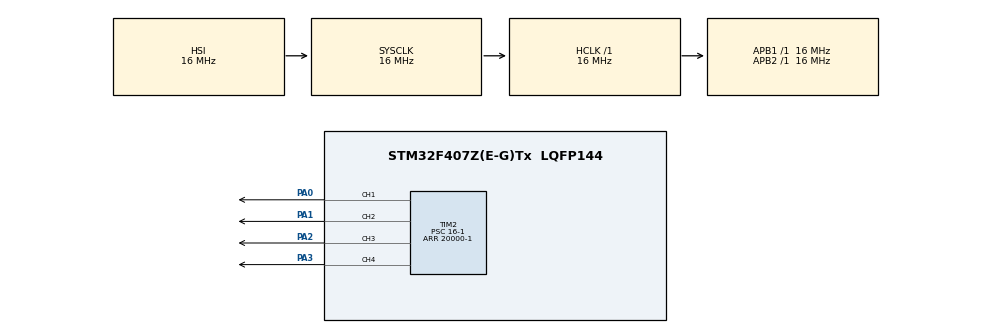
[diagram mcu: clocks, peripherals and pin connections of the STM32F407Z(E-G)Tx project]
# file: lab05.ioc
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Mcu.Family=STM32F4
Mcu.Name=STM32F407Z(E-G)Tx
Mcu.Package=LQFP144
NVIC.PriorityGroup=NVIC_PRIORITYGROUP_4
NVIC.TIM1_UP_TIM10_IRQn=true\:0\:0\:false\:true\:true\:1\:true\:true
NVIC.TIM3_IRQn=true\:0\:0\:false\:true\:true\:2\:true\:true
PA0-WKUP.Signal=S_TIM2_CH1_ETR
PA1.Signal=S_TIM2_CH2
PA2.Signal=S_TIM2_CH3
PA3.Signal=S_TIM2_CH4
ProjectManager.HeapSize=0x200
ProjectManager.StackSize=0x400
ProjectManager.TargetToolchain=STM32CubeIDE
RCC.AHBFreq_Value=16000000
RCC.APB1Freq_Value=16000000
RCC.APB2Freq_Value=16000000
RCC.CortexFreq_Value=16000000
RCC.HSE_VALUE=25000000
RCC.HSI_VALUE=16000000
RCC.LSE_VALUE=32768
RCC.SYSCLKFreq_VALUE=16000000
RCC.VCOOutputFreq_Value=192000000
SH.S_TIM2_CH1_ETR.0=TIM2_CH1,PWM Generation1 CH1
SH.S_TIM2_CH2.0=TIM2_CH2,PWM Generation2 CH2
SH.S_TIM2_CH3.0=TIM2_CH3,PWM Generation3 CH3
SH.S_TIM2_CH4.0=TIM2_CH4,PWM Generation4 CH4
TIM1.Period=1000-1
TIM1.Prescaler=160-1
TIM1.TIM_MasterOutputTrigger=TIM_TRGO_UPDATE
TIM2.Channel-PWM\ Generation1\ CH1=TIM_CHANNEL_1
TIM2.Channel-PWM\ Generation2\ CH2=TIM_CHANNEL_2
TIM2.Channel-PWM\ Generation3\ CH3=TIM_CHANNEL_3
TIM2.Channel-PWM\ Generation4\ CH4=TIM_CHANNEL_4
TIM2.Period=20000-1
TIM2.Prescaler=16-1
TIM2.Pulse-PWM\ Generation1\ CH1=0
TIM2.Pulse-PWM\ Generation2\ CH2=0
TIM2.Pulse-PWM\ Generation3\ CH3=0
TIM2.Pulse-PWM\ Generation4\ CH4=0
TIM3.Period=1000-1
TIM3.Prescaler=80-1
TIM3.TIM_MasterOutputTrigger=TIM_TRGO_UPDATE
VP_TIM1_VS_ClockSourceINT.Mode=Internal
VP_TIM2_VS_ClockSourceINT.Mode=Internal
VP_TIM3_VS_ClockSourceINT.Mode=Internal
board=custom

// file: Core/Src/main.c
/* USER CODE BEGIN Header */
/**
  ******************************************************************************
  * @file           : main.c
  * @brief          : Main program body
  ******************************************************************************
  * @attention
  *
  * <h2><center>&copy; Copyright (c) 2022 STMicroelectronics.
  * All rights reserved.</center></h2>
  *
  * This software component is licensed by ST under BSD 3-Clause license,
  * the "License"; You may not use this file except in compliance with the
  * License. You may obtain a copy of the License at:
  *                        opensource.org/licenses/BSD-3-Clause
  *
  ******************************************************************************
  */
/* USER CODE END Header */
#include "main.h"

/* USER CODE BEGIN PTD */
typedef enum {
	BACKWARD_DIRECTION,
	FORWARD_DIRECTION
}DIRECTION_t;

typedef struct {
	uint8_t angle;
	uint8_t direction;
}SERVO_t;

/* USER CODE END PTD */

/* USER CODE BEGIN PD */
#define MIN_SERVO_PERIOD_US 500
#define MAX_SERVO_PERIOD_US 2500
/* USER CODE END PD */

TIM_HandleTypeDef htim1;
TIM_HandleTypeDef htim2;
TIM_HandleTypeDef htim3;

void SystemClock_Config(void);
static void MX_GPIO_Init(void);
static void MX_TIM2_Init(void);
static void MX_TIM1_Init(void);
static void MX_TIM3_Init(void);
static void MX_NVIC_Init(void);

/* USER CODE BEGIN 0 */
uint32_t map(uint32_t x, uint32_t in_min, uint32_t in_max, uint32_t out_min, uint32_t out_max) {
  return (x - in_min) * (out_max - out_min) / (in_max - in_min) + out_min;
}
static inline uint32_t deg_to_us(uint32_t deg) {
	return map(deg, 0, 180, MIN_SERVO_PERIOD_US, MAX_SERVO_PERIOD_US);
}
/* USER CODE END 0 */

int main(void)
{

  /* MCU Configuration--------------------------------------------------------*/

  /* Reset of all peripherals, Initializes the Flash interface and the Systick. */
  HAL_Init();

  /* Configure the system clock */
  SystemClock_Config();

  /* Initialize all configured peripherals */
  MX_GPIO_Init();
  MX_TIM2_Init();
  MX_TIM1_Init();
  MX_TIM3_Init();

  /* Initialize interrupts */
  MX_NVIC_Init();
  /* USER CODE BEGIN 2 */
  HAL_TIM_PWM_Start(&htim2, TIM_CHANNEL_1);
  HAL_TIM_PWM_Start(&htim2, TIM_CHANNEL_2);
  HAL_TIM_PWM_Start(&htim2, TIM_CHANNEL_3);
  HAL_TIM_PWM_Start(&htim2, TIM_CHANNEL_4);

  HAL_TIM_Base_Start_IT(&htim1);
  HAL_TIM_Base_Start_IT(&htim3);
  /* USER CODE END 2 */

  /* Infinite loop */
  while (1)
  {

  }
}

void SystemClock_Config(void)
{
  RCC_OscInitTypeDef RCC_OscInitStruct = {0};
  RCC_ClkInitTypeDef RCC_ClkInitStruct = {0};

  /** Configure the main internal regulator output voltage
  */
  __HAL_RCC_PWR_CLK_ENABLE();
  __HAL_PWR_VOLTAGESCALING_CONFIG(PWR_REGULATOR_VOLTAGE_SCALE1);
  /** Initializes the RCC Oscillators according to the specified parameters
  * in the RCC_OscInitTypeDef structure.
  */
  RCC_OscInitStruct.OscillatorType = RCC_OSCILLATORTYPE_HSI;
  RCC_OscInitStruct.HSIState = RCC_HSI_ON;
  RCC_OscInitStruct.HSICalibrationValue = RCC_HSICALIBRATION_DEFAULT;
  RCC_OscInitStruct.PLL.PLLState = RCC_PLL_NONE;
  if (HAL_RCC_OscConfig(&RCC_OscInitStruct) != HAL_OK)
  {
    Error_Handler();
  }
  /** Initializes the CPU, AHB and APB buses clocks
  */
  RCC_ClkInitStruct.ClockType = RCC_CLOCKTYPE_HCLK|RCC_CLOCKTYPE_SYSCLK
                              |RCC_CLOCKTYPE_PCLK1|RCC_CLOCKTYPE_PCLK2;
  RCC_ClkInitStruct.SYSCLKSource = RCC_SYSCLKSOURCE_HSI;
  RCC_ClkInitStruct.AHBCLKDivider = RCC_SYSCLK_DIV1;
  RCC_ClkInitStruct.APB1CLKDivider = RCC_HCLK_DIV1;
  RCC_ClkInitStruct.APB2CLKDivider = RCC_HCLK_DIV1;

  if (HAL_RCC_ClockConfig(&RCC_ClkInitStruct, FLASH_LATENCY_0) != HAL_OK)
  {
    Error_Handler();
  }
}

/**
  * @brief NVIC Configuration.
  * @retval None
  */
static void MX_NVIC_Init(void)
{
  /* TIM1_UP_TIM10_IRQn interrupt configuration */
  HAL_NVIC_SetPriority(TIM1_UP_TIM10_IRQn, 0, 0);
  HAL_NVIC_EnableIRQ(TIM1_UP_TIM10_IRQn);
  /* TIM3_IRQn interrupt configuration */
  HAL_NVIC_SetPriority(TIM3_IRQn, 0, 0);
  HAL_NVIC_EnableIRQ(TIM3_IRQn);
}

static void MX_TIM1_Init(void)
{

  TIM_ClockConfigTypeDef sClockSourceConfig = {0};
  TIM_MasterConfigTypeDef sMasterConfig = {0};

  htim1.Instance = TIM1;
  htim1.Init.Prescaler = 160-1;
  htim1.Init.CounterMode = TIM_COUNTERMODE_UP;
  htim1.Init.Period = 1000-1;
  htim1.Init.ClockDivision = TIM_CLOCKDIVISION_DIV1;
  htim1.Init.RepetitionCounter = 0;
  htim1.Init.AutoReloadPreload = TIM_AUTORELOAD_PRELOAD_DISABLE;
  if (HAL_TIM_Base_Init(&htim1) != HAL_OK)
  {
    Error_Handler();
  }
  sClockSourceConfig.ClockSource = TIM_CLOCKSOURCE_INTERNAL;
  if (HAL_TIM_ConfigClockSource(&htim1, &sClockSourceConfig) != HAL_OK)
  {
    Error_Handler();
  }
  sMasterConfig.MasterOutputTrigger = TIM_TRGO_UPDATE;
  sMasterConfig.MasterSlaveMode = TIM_MASTERSLAVEMODE_DISABLE;
  if (HAL_TIMEx_MasterConfigSynchronization(&htim1, &sMasterConfig) != HAL_OK)
  {
    Error_Handler();
  }

}

static void MX_TIM2_Init(void)
{

  TIM_ClockConfigTypeDef sClockSourceConfig = {0};
  TIM_MasterConfigTypeDef sMasterConfig = {0};
  TIM_OC_InitTypeDef sConfigOC = {0};

  htim2.Instance = TIM2;
  htim2.Init.Prescaler = 16-1;
  htim2.Init.CounterMode = TIM_COUNTERMODE_UP;
  htim2.Init.Period = 20000-1;
  htim2.Init.ClockDivision = TIM_CLOCKDIVISION_DIV1;
  htim2.Init.AutoReloadPreload = TIM_AUTORELOAD_PRELOAD_DISABLE;
  if (HAL_TIM_Base_Init(&htim2) != HAL_OK)
  {
    Error_Handler();
  }
  sClockSourceConfig.ClockSource = TIM_CLOCKSOURCE_INTERNAL;
  if (HAL_TIM_ConfigClockSource(&htim2, &sClockSourceConfig) != HAL_OK)
  {
    Error_Handler();
  }
  if (HAL_TIM_PWM_Init(&htim2) != HAL_OK)
  {
    Error_Handler();
  }
  sMasterConfig.MasterOutputTrigger = TIM_TRGO_RESET;
  sMasterConfig.MasterSlaveMode = TIM_MASTERSLAVEMODE_DISABLE;
  if (HAL_TIMEx_MasterConfigSynchronization(&htim2, &sMasterConfig) != HAL_OK)
  {
    Error_Handler();
  }
  sConfigOC.OCMode = TIM_OCMODE_PWM1;
  sConfigOC.Pulse = 0;
  sConfigOC.OCPolarity = TIM_OCPOLARITY_HIGH;
  sConfigOC.OCFastMode = TIM_OCFAST_DISABLE;
  if (HAL_TIM_PWM_ConfigChannel(&htim2, &sConfigOC, TIM_CHANNEL_1) != HAL_OK)
  {
    Error_Handler();
  }
  if (HAL_TIM_PWM_ConfigChannel(&htim2, &sConfigOC, TIM_CHANNEL_2) != HAL_OK)
  {
    Error_Handler();
  }
  if (HAL_TIM_PWM_ConfigChannel(&htim2, &sConfigOC, TIM_CHANNEL_3) != HAL_OK)
  {
    Error_Handler();
  }
  if (HAL_TIM_PWM_ConfigChannel(&htim2, &sConfigOC, TIM_CHANNEL_4) != HAL_OK)
  {
    Error_Handler();
  }
  HAL_TIM_MspPostInit(&htim2);

}

static void MX_TIM3_Init(void)
{

  TIM_ClockConfigTypeDef sClockSourceConfig = {0};
  TIM_MasterConfigTypeDef sMasterConfig = {0};

  htim3.Instance = TIM3;
  htim3.Init.Prescaler = 80-1;
  htim3.Init.CounterMode = TIM_COUNTERMODE_UP;
  htim3.Init.Period = 1000-1;
  htim3.Init.ClockDivision = TIM_CLOCKDIVISION_DIV1;
  htim3.Init.AutoReloadPreload = TIM_AUTORELOAD_PRELOAD_DISABLE;
  if (HAL_TIM_Base_Init(&htim3) != HAL_OK)
  {
    Error_Handler();
  }
  sClockSourceConfig.ClockSource = TIM_CLOCKSOURCE_INTERNAL;
  if (HAL_TIM_ConfigClockSource(&htim3, &sClockSourceConfig) != HAL_OK)
  {
    Error_Handler();
  }
  sMasterConfig.MasterOutputTrigger = TIM_TRGO_UPDATE;
  sMasterConfig.MasterSlaveMode = TIM_MASTERSLAVEMODE_DISABLE;
  if (HAL_TIMEx_MasterConfigSynchronization(&htim3, &sMasterConfig) != HAL_OK)
  {
    Error_Handler();
  }

}

static void MX_GPIO_Init(void)
{

  /* GPIO Ports Clock Enable */
  __HAL_RCC_GPIOA_CLK_ENABLE();

}

/* USER CODE BEGIN 4 */
void HAL_TIM_PeriodElapsedCallback(TIM_HandleTypeDef *htim)
{
	static SERVO_t servo1 = {0, FORWARD_DIRECTION};
	static SERVO_t servo2 = {0, FORWARD_DIRECTION};
	if (htim->Instance == TIM1) {
		__HAL_TIM_SET_COMPARE(&htim2, TIM_CHANNEL_1, deg_to_us(servo1.angle));
		if (servo1.direction == FORWARD_DIRECTION) {
			servo1.angle++;
			if (servo1.angle == 180) servo1.direction = BACKWARD_DIRECTION;
		}
		else if (servo1.direction == BACKWARD_DIRECTION) {
			servo1.angle--;
			if (servo1.angle == 0) servo1.direction = FORWARD_DIRECTION;
		}
	}

	if (htim->Instance == TIM3) {
			__HAL_TIM_SET_COMPARE(&htim2, TIM_CHANNEL_2, deg_to_us(servo2.angle));
			if (servo2.direction == FORWARD_DIRECTION) {
				servo2.angle++;
				if (servo2.angle == 180) servo2.direction = BACKWARD_DIRECTION;
			}
			else if (servo2.direction == BACKWARD_DIRECTION) {
				servo2.angle--;
				if (servo2.angle == 0) servo2.direction = FORWARD_DIRECTION;
			}
		}
}

/* USER CODE END 4 */

void Error_Handler(void)
{
  __disable_irq();
  while (1)
  {
  }
}

/************************ (C) COPYRIGHT STMicroelectronics *****END OF FILE****/
